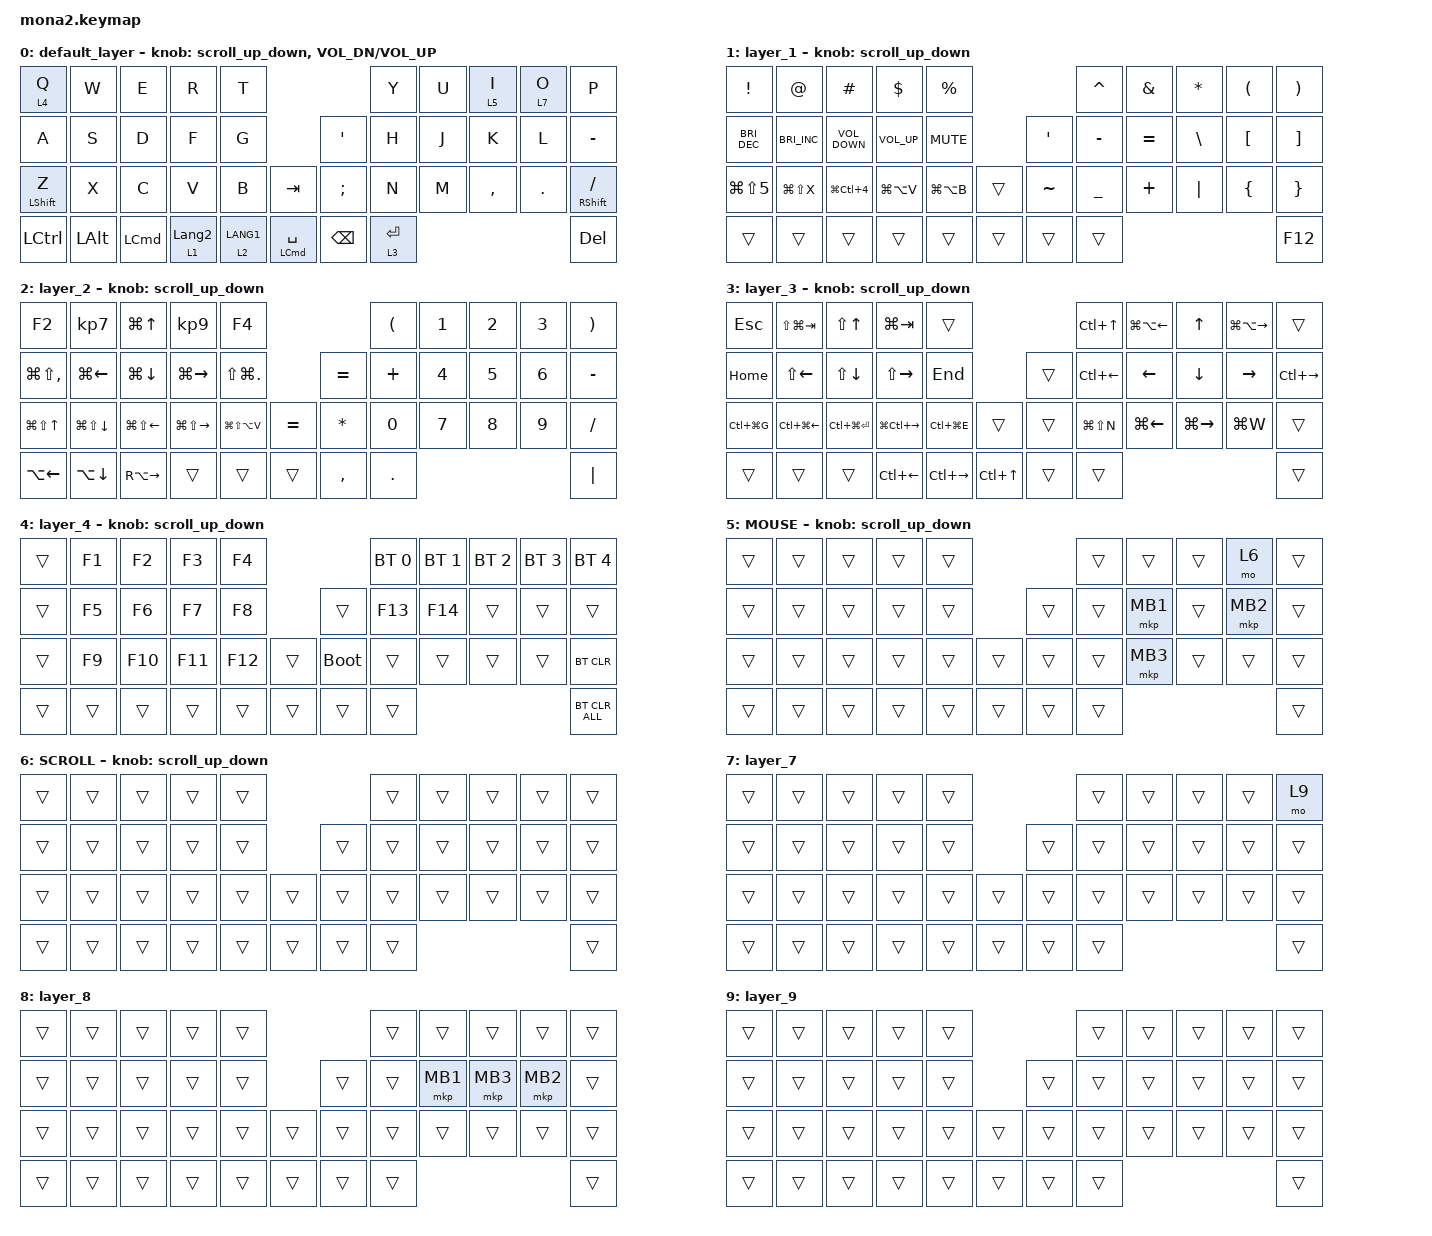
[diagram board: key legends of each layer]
#include <behaviors.dtsi>
#include <dt-bindings/zmk/bt.h>
#include <dt-bindings/zmk/keys.h>
#include <dt-bindings/zmk/pointing.h>

#define ZMK_POINTING_DEFAULT_SCRL_VAL 100
#define MOUSE 5
#define SCROLL 6

&mt {
    flavor = "balanced";
    quick-tap-ms = <0>;
};

/ {
    combos { compatible = "zmk,combos"; };

    macros {
        to_layer_0: to_layer_0 {
            compatible = "zmk,behavior-macro-one-param";
            #binding-cells = <1>;
            bindings = <&to 0 &macro_param_1to1 &kp MACRO_PLACEHOLDER>;
            label = "TO_LAYER_0";
        };
    };

    behaviors {
        lt_to_layer_0: lt_to_layer_0 {
            compatible = "zmk,behavior-hold-tap";
            label = "LAYER_TAP_TO_0";
            bindings = <&mo>, <&to_layer_0>;

            #binding-cells = <2>;
            tapping-term-ms = <200>;
        };

        scroll_up_down: behavior_sensor_rotate_mouse_wheel_up_down {
            compatible = "zmk,behavior-sensor-rotate";
            #sensor-binding-cells = <0>;
            bindings = <&msc SCRL_UP>, <&msc SCRL_DOWN>;

            tap-ms = <20>;
        };
    };

    keymap {
        compatible = "zmk,keymap";

        default_layer {
            bindings = <
&lt 4 Q           &kp W         &kp E             &kp R             &kp T                                                 &kp Y        &kp U  &lt 5 I    &lt 7 O  &kp P
&kp A             &kp S         &kp D             &kp F             &kp G                                  &kp SQT        &kp H        &kp J  &kp K      &kp L    &kp MINUS
&mt LEFT_SHIFT Z  &kp X         &kp C             &kp V             &kp B        &kp TAB                   &kp SEMICOLON  &kp N        &kp M  &kp COMMA  &kp DOT  &mt RIGHT_SHIFT SLASH
&kp LCTRL         &kp LEFT_ALT  &kp LEFT_COMMAND  &lt 1 LANGUAGE_2  &lt 2 LANG1  &mt LEFT_COMMAND SPACE    &kp BACKSPACE  &lt 3 ENTER                             &kp DEL
            >;

            sensor-bindings =
                <&scroll_up_down>,
                <&inc_dec_kp C_VOL_DN C_VOL_UP>;
        };

        layer_1 {
            bindings = <
&kp EXCLAMATION       &kp AT_SIGN           &kp HASH              &kp DOLLAR       &kp PERCENT                                &kp CARET       &kp AMPERSAND  &kp ASTERISK   &kp LEFT_PARENTHESIS  &kp RIGHT_PARENTHESIS
&kp C_BRIGHTNESS_DEC  &kp C_BRIGHTNESS_INC  &kp C_VOLUME_DOWN     &kp C_VOLUME_UP  &kp K_MUTE               &kp SINGLE_QUOTE  &kp MINUS       &kp EQUAL      &kp BACKSLASH  &kp LEFT_BRACKET      &kp RIGHT_BRACKET
&kp LG(LS(N5))        &kp LG(LS(X))         &kp LG(LC(NUMBER_4))  &kp LG(LA(V))    &kp LG(LA(B))  &trans    &kp TILDE         &kp UNDERSCORE  &kp PLUS       &kp PIPE       &kp LEFT_BRACE        &kp RIGHT_BRACE
&trans                &trans                &trans                &trans           &trans         &trans    &trans            &trans                                                              &kp F12
            >;

            sensor-bindings = <&scroll_up_down>;
        };

        layer_2 {
            bindings = <
&kp F2                &kp KP_NUMBER_7         &kp LG(UP_ARROW)        &kp KP_NUMBER_9          &kp F4                                         &kp LEFT_PARENTHESIS  &kp NUMBER_1  &kp NUMBER_2  &kp NUMBER_3  &kp RIGHT_PARENTHESIS
&kp LG(LS(COMMA))     &kp LG(LEFT_ARROW)      &kp LG(DOWN_ARROW)      &kp LG(RIGHT_ARROW)      &kp LS(LG(PERIOD))               &kp EQUAL     &kp PLUS              &kp NUMBER_4  &kp N5        &kp NUMBER_6  &kp MINUS
&kp LG(LS(UP_ARROW))  &kp LG(LS(DOWN_ARROW))  &kp LG(LS(LEFT_ARROW))  &kp LG(LS(RIGHT_ARROW))  &kp LG(LS(LA(V)))   &kp EQUAL    &kp ASTERISK  &kp N0                &kp N7        &kp N8        &kp N9        &kp SLASH
&kp LA(LEFT_ARROW)    &kp LA(DOWN_ARROW)      &kp RA(RIGHT_ARROW)     &trans                   &trans              &trans       &kp COMMA     &kp PERIOD                                                      &kp PIPE
            >;

            sensor-bindings = <&scroll_up_down>;
        };

        layer_3 {
            bindings = <
&kp ESCAPE     &kp LS(LG(TAB))         &kp LS(UP_ARROW)    &kp LG(TAB)              &trans                                           &kp LC(UP_ARROW)    &kp LG(LA(LEFT_ARROW))  &kp UP_ARROW         &kp LG(LA(RIGHT_ARROW))  &trans
&kp HOME       &kp LS(LEFT_ARROW)      &kp LS(DOWN_ARROW)  &kp LS(RIGHT_ARROW)      &kp END                                  &trans  &kp LC(LEFT_ARROW)  &kp LEFT_ARROW          &kp DOWN_ARROW       &kp RIGHT_ARROW          &kp LC(RIGHT_ARROW)
&kp LC(LG(G))  &kp LC(LG(LEFT_ARROW))  &kp LC(LG(ENTER))   &kp LG(LC(RIGHT_ARROW))  &kp LC(LG(E))        &trans              &trans  &kp LG(LS(N))       &kp LG(LEFT_ARROW)      &kp LG(RIGHT_ARROW)  &kp LG(W)                &trans
&trans         &trans                  &trans              &kp LC(LEFT_ARROW)       &kp LC(RIGHT_ARROW)  &kp LC(UP_ARROW)    &trans  &trans                                                                                    &trans
            >;

            sensor-bindings = <&scroll_up_down>;
        };

        layer_4 {
            bindings = <
&trans  &kp F1  &kp F2   &kp F3   &kp F4                          &bt BT_SEL 0  &bt BT_SEL 1  &bt BT_SEL 2  &bt BT_SEL 3  &bt BT_SEL 4
&trans  &kp F5  &kp F6   &kp F7   &kp F8             &trans       &kp F13       &kp F14       &trans        &trans        &trans
&trans  &kp F9  &kp F10  &kp F11  &kp F12  &trans    &bootloader  &trans        &trans        &trans        &trans        &bt BT_CLR
&trans  &trans  &trans   &trans   &trans   &trans    &trans       &trans                                                  &bt BT_CLR_ALL
            >;

            sensor-bindings = <&scroll_up_down>;
        };

        MOUSE {
            bindings = <
&trans  &trans  &trans  &trans  &trans                    &trans  &trans    &trans  &mo 6     &trans
&trans  &trans  &trans  &trans  &trans            &trans  &trans  &mkp MB1  &trans  &mkp MB2  &trans
&trans  &trans  &trans  &trans  &trans  &trans    &trans  &trans  &mkp MB3  &trans  &trans    &trans
&trans  &trans  &trans  &trans  &trans  &trans    &trans  &trans                              &trans
            >;

            sensor-bindings = <&scroll_up_down>;
        };

        SCROLL {
            bindings = <
&trans  &trans  &trans  &trans  &trans                    &trans  &trans  &trans  &trans  &trans
&trans  &trans  &trans  &trans  &trans            &trans  &trans  &trans  &trans  &trans  &trans
&trans  &trans  &trans  &trans  &trans  &trans    &trans  &trans  &trans  &trans  &trans  &trans
&trans  &trans  &trans  &trans  &trans  &trans    &trans  &trans                          &trans
            >;

            sensor-bindings = <&scroll_up_down>;
        };

        layer_7 {
            bindings = <
&trans  &trans  &trans  &trans  &trans                    &trans  &trans  &trans  &trans  &mo 9
&trans  &trans  &trans  &trans  &trans            &trans  &trans  &trans  &trans  &trans  &trans
&trans  &trans  &trans  &trans  &trans  &trans    &trans  &trans  &trans  &trans  &trans  &trans
&trans  &trans  &trans  &trans  &trans  &trans    &trans  &trans                          &trans
            >;
        };

        layer_8 {
            bindings = <
&trans  &trans  &trans  &trans  &trans                    &trans  &trans    &trans    &trans    &trans
&trans  &trans  &trans  &trans  &trans            &trans  &trans  &mkp MB1  &mkp MB3  &mkp MB2  &trans
&trans  &trans  &trans  &trans  &trans  &trans    &trans  &trans  &trans    &trans    &trans    &trans
&trans  &trans  &trans  &trans  &trans  &trans    &trans  &trans                                &trans
            >;
        };

        layer_9 {
            bindings = <
&trans  &trans  &trans  &trans  &trans                    &trans  &trans  &trans  &trans  &trans
&trans  &trans  &trans  &trans  &trans            &trans  &trans  &trans  &trans  &trans  &trans
&trans  &trans  &trans  &trans  &trans  &trans    &trans  &trans  &trans  &trans  &trans  &trans
&trans  &trans  &trans  &trans  &trans  &trans    &trans  &trans                          &trans
            >;
        };
    };
};
